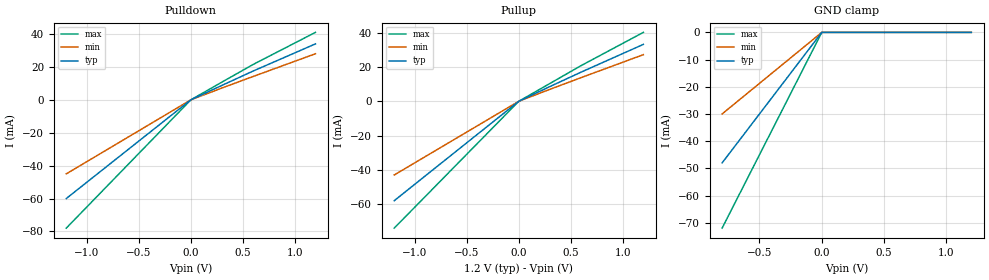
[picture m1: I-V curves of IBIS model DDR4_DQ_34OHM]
[IBIS Ver] 5.1
[File Name] ddr4_dq.ibs
[File Rev] 2.0
[Date] November 24, 2026
[Component] DDR4_DRAM_X8
[Manufacturer] Ansatz Memory Systems
[Package]
R_pkg   0.0800   0.0450   0.1250
L_pkg   1.200nH   0.700nH   1.850nH
C_pkg   0.650pF   0.400pF   0.950pF
[Pin] signal_name model_name R_pin L_pin C_pin
A1   VDDQ   POWER
A2   VSSQ   GND
B1   DQ0   DDR4_DQ_34OHM
B2   DQ1   DDR4_DQ_34OHM
C1   DQS_T   DDR4_DQ_34OHM
C2   DQS_C   DDR4_DQ_34OHM
| Models and submodels in the file (1): DDR4_DQ_34OHM (I/O)
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[Model] DDR4_DQ_34OHM
Model_type I/O
Polarity Non-Inverting
Vinl = 0.72V
Vinh = 0.96V
C_comp 1.15pF 0.85pF 1.45pF
[Voltage Range] 1.2V 1.14V 1.26V
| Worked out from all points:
|   slope of the pulldown table from 0 to 0.18 V, typ, clamps not added: 34.1 ohm
[Pulldown]
-1.2V     -60mA      -45mA      -78mA
0V        0A         0A         0A
300mV     8.8mA      7.2mA      10.8mA
600mV     17.5mA     14.2mA     21.5mA
1.2V      34mA       28mA       41mA
[Pullup]
-1.2V     -58mA      -43mA      -74mA
0V        0A         0A         0A
300mV     8.6mA      7mA        10.4mA
600mV     17mA       13.8mA     20.8mA
1.2V      33.2mA     27.2mA     40.2mA
[GND Clamp]
-800mV    -48mA      -30mA      -72mA
0V        0A         0A         0A
1.2V      0A         0A         0A
[Ramp]
dV/dt_r 0.60V/0.11ns 0.48V/0.15ns 0.72V/0.08ns
dV/dt_f 0.60V/0.11ns 0.48V/0.15ns 0.72V/0.08ns
R_load 50
